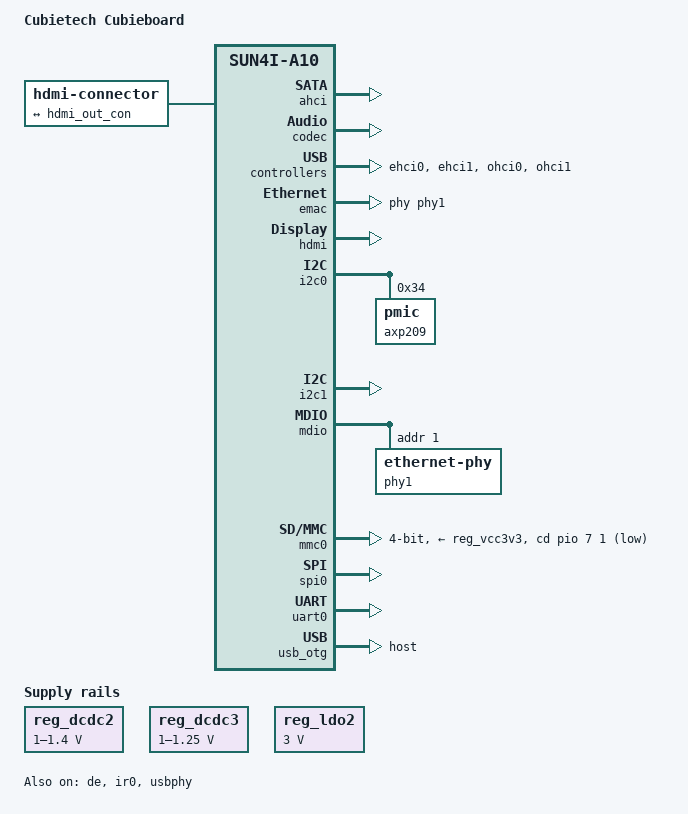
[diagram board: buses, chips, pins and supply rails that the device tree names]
/dts-v1/;
#include "sun4i-a10.dtsi"
#include "sunxi-common-regulators.dtsi"
#include <dt-bindings/gpio/gpio.h>
#include <dt-bindings/input/input.h>
#include <dt-bindings/interrupt-controller/irq.h>
#include <dt-bindings/pwm/pwm.h>

/ {
        model = "Cubietech Cubieboard";
        compatible = "cubietech,a10-cubieboard", "allwinner,sun4i-a10";

        aliases {
                serial0 = &uart0;
        };

        chosen {
                stdout-path = "serial0:115200n8";
        };

        hdmi-connector {
                compatible = "hdmi-connector";
                type = "a";

                port {
                        hdmi_con_in: endpoint {
                                remote-endpoint = <&hdmi_out_con>;
                        };
                };
        };
        
};

&ahci {
        target-supply = <&reg_ahci_5v>;
        status = "okay";
};

&codec {
        status = "okay";
};

&cpu0 {
        cpu-supply = <&reg_dcdc2>;
};

&de {
        status = "okay";
};

&ehci0 {
        status = "okay";
};

&ehci1 {
        status = "okay";
};

&emac {
        phy-handle = <&phy1>;
        status = "okay";
};

&emac_sram {
        status = "okay";
};

&hdmi {
        status = "okay";
};

&hdmi_out {
        hdmi_out_con: endpoint {
                remote-endpoint = <&hdmi_con_in>;
        };
};

&i2c0 {
        status = "okay";

        axp209: pmic@34 {
                reg = <0x34>;
                interrupts = <0>;
        };
};

&i2c1 {
        status = "okay";
};

&ir0 {
        pinctrl-names = "default";
        pinctrl-0 = <&ir0_rx_pins>;
        status = "okay";
};

&mdio {
        status = "okay";

        phy1: ethernet-phy@1 {
                reg = <1>;
        };
};

&mmc0 {
        vmmc-supply = <&reg_vcc3v3>;
        bus-width = <4>;
        cd-gpios = <&pio 7 1 GPIO_ACTIVE_LOW>; /* PH1 */
        status = "okay";
};

&ohci0 {
        status = "okay";
};

&ohci1 {
        status = "okay";
};

&otg_sram {
        status = "okay";
};

&pio {
        usb0_id_detect_pin: usb0-id-detect-pin {
                pins = "PH4";
                function = "gpio_in";
                bias-pull-up;
        };
        usb0_vbus_detect_pin: usb0-vbus-detect-pin {
                pins = "PH5";
                function = "gpio_in";
                bias-pull-down;
        };

};

&reg_ahci_5v {
        status = "okay";
};

#include "axp209.dtsi"

&ac_power_supply {
        status = "okay";
};

&reg_dcdc2 {
        regulator-always-on;
        regulator-min-microvolt = <1000000>;
        regulator-max-microvolt = <1400000>;
        regulator-name = "vdd-cpu";
};

&reg_dcdc3 {
        regulator-always-on;
        regulator-min-microvolt = <1000000>;
        regulator-max-microvolt = <1250000>;
        regulator-name = "vdd-int-dll";
};

&reg_ldo1 {
        regulator-name = "vdd-rtc";
};

&reg_ldo2 {
        regulator-always-on;
        regulator-min-microvolt = <3000000>;
        regulator-max-microvolt = <3000000>;
        regulator-name = "avcc";
};

&reg_usb0_vbus {
        status = "okay";
};

&reg_usb1_vbus {
        status = "okay";
};

&reg_usb2_vbus {
        status = "okay";
};

&spi0 {
        pinctrl-names = "default";
        pinctrl-0 = <&spi0_pi_pins>,
                    <&spi0_cs0_pi_pin>;
        status = "okay";
};

&uart0 {
        pinctrl-names = "default";
        pinctrl-0 = <&uart0_pb_pins>;
        status = "okay";
};

&usb_otg {
        dr_mode = "host";
        status = "okay";
};

&usbphy {
        pinctrl-names = "default";
        pinctrl-0 = <&usb0_id_detect_pin>, <&usb0_vbus_detect_pin>;
        usb0_id_det-gpios = <&pio 7 4 (GPIO_ACTIVE_HIGH | GPIO_PULL_UP)>; /* PH4 */
        usb0_vbus_det-gpio = <&pio 7 5 (GPIO_ACTIVE_HIGH | GPIO_PULL_DOWN)>; /* PH5 */
        usb0_vbus-supply = <&reg_usb0_vbus>;
        usb1_vbus-supply = <&reg_usb1_vbus>;
        usb2_vbus-supply = <&reg_usb2_vbus>;
        status = "okay";
};
